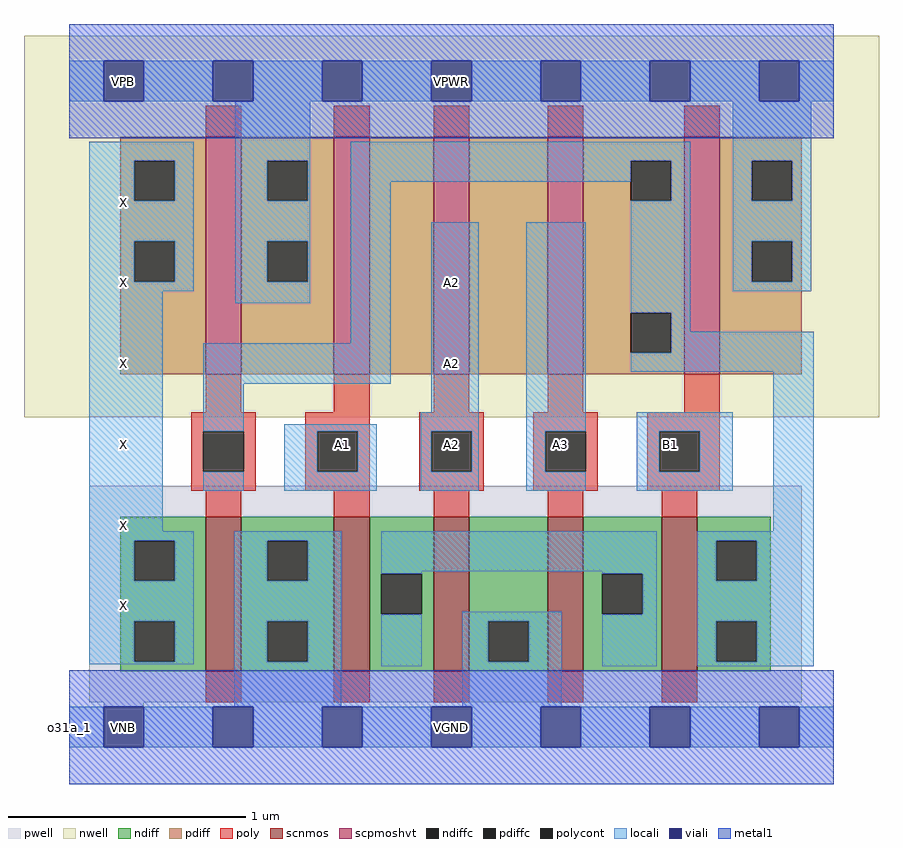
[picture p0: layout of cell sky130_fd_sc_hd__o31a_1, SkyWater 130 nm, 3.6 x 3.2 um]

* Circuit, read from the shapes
.subckt sky130_fd_sc_hd__o31a_1 A1 A2 A3 B1 VGND VNB VPB VPWR X
XM1 VGND n1 X VNB sky130_fd_pr__nfet_01v8 w=0.65 l=0.15
XM2 n2 A1 VGND VNB sky130_fd_pr__nfet_01v8 w=0.65 l=0.15
XM3 VGND A2 n2 VNB sky130_fd_pr__nfet_01v8 w=0.65 l=0.15
XM4 n2 A3 VGND VNB sky130_fd_pr__nfet_01v8 w=0.65 l=0.15
XM5 n1 B1 n2 VNB sky130_fd_pr__nfet_01v8 w=0.65 l=0.15
XM6 VPWR n1 X VPB sky130_fd_pr__pfet_01v8_hvt w=1 l=0.15
XM7 n3 A1 VPWR VPB sky130_fd_pr__pfet_01v8_hvt w=1 l=0.15
XM8 n4 A2 n3 VPB sky130_fd_pr__pfet_01v8_hvt w=1 l=0.15
XM9 n1 A3 n4 VPB sky130_fd_pr__pfet_01v8_hvt w=1 l=0.15
XM10 VPWR B1 n1 VPB sky130_fd_pr__pfet_01v8_hvt w=1 l=0.15
.ends

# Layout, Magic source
magic
tech sky130B
magscale 1 2
<< nwell >>
rect -38 261 682 582
<< pwell >>
rect 17 21 617 203
rect 29 -17 63 21
<< scnmos >>
rect 115 47 145 177
rect 223 47 253 177
rect 307 47 337 177
rect 403 47 433 177
rect 499 47 529 177
<< scpmoshvt >>
rect 115 297 145 497
rect 223 297 253 497
rect 307 297 337 497
rect 403 297 433 497
rect 518 297 548 497
<< ndiff >>
rect 43 157 115 177
rect 43 123 55 157
rect 89 123 115 157
rect 43 89 115 123
rect 43 55 55 89
rect 89 55 115 89
rect 43 47 115 55
rect 145 157 223 177
rect 145 123 167 157
rect 201 123 223 157
rect 145 89 223 123
rect 145 55 167 89
rect 201 55 223 89
rect 145 47 223 55
rect 253 129 307 177
rect 253 95 263 129
rect 297 95 307 129
rect 253 47 307 95
rect 337 89 403 177
rect 337 55 353 89
rect 387 55 403 89
rect 337 47 403 55
rect 433 129 499 177
rect 433 95 449 129
rect 483 95 499 129
rect 433 47 499 95
rect 529 157 591 177
rect 529 123 545 157
rect 579 123 591 157
rect 529 89 591 123
rect 529 55 545 89
rect 579 55 591 89
rect 529 47 591 55
<< pdiff >>
rect 43 477 115 497
rect 43 443 55 477
rect 89 443 115 477
rect 43 409 115 443
rect 43 375 55 409
rect 89 375 115 409
rect 43 297 115 375
rect 145 477 223 497
rect 145 443 167 477
rect 201 443 223 477
rect 145 409 223 443
rect 145 375 167 409
rect 201 375 223 409
rect 145 297 223 375
rect 253 297 307 497
rect 337 297 403 497
rect 433 477 518 497
rect 433 443 473 477
rect 507 443 518 477
rect 433 349 518 443
rect 433 315 473 349
rect 507 315 518 349
rect 433 297 518 315
rect 548 477 617 497
rect 548 443 575 477
rect 609 443 617 477
rect 548 409 617 443
rect 548 375 575 409
rect 609 375 617 409
rect 548 297 617 375
<< ndiffc >>
rect 55 123 89 157
rect 55 55 89 89
rect 167 123 201 157
rect 167 55 201 89
rect 263 95 297 129
rect 353 55 387 89
rect 449 95 483 129
rect 545 123 579 157
rect 545 55 579 89
<< pdiffc >>
rect 55 443 89 477
rect 55 375 89 409
rect 167 443 201 477
rect 167 375 201 409
rect 473 443 507 477
rect 473 315 507 349
rect 575 443 609 477
rect 575 375 609 409
<< poly >>
rect 115 497 145 523
rect 223 497 253 523
rect 307 497 337 523
rect 403 497 433 523
rect 518 497 548 523
rect 115 265 145 297
rect 223 265 253 297
rect 307 265 337 297
rect 403 265 433 297
rect 518 265 548 297
rect 103 249 157 265
rect 103 215 113 249
rect 147 215 157 249
rect 103 199 157 215
rect 199 249 253 265
rect 199 215 209 249
rect 243 215 253 249
rect 199 199 253 215
rect 295 249 349 265
rect 295 215 305 249
rect 339 215 349 249
rect 295 199 349 215
rect 391 249 445 265
rect 391 215 401 249
rect 435 215 445 249
rect 391 199 445 215
rect 487 249 548 265
rect 487 215 497 249
rect 531 215 548 249
rect 487 199 548 215
rect 115 177 145 199
rect 223 177 253 199
rect 307 177 337 199
rect 403 177 433 199
rect 499 177 529 199
rect 115 21 145 47
rect 223 21 253 47
rect 307 21 337 47
rect 403 21 433 47
rect 499 21 529 47
<< polycont >>
rect 113 215 147 249
rect 209 215 243 249
rect 305 215 339 249
rect 401 215 435 249
rect 497 215 531 249
<< locali >>
rect 0 527 29 561
rect 63 527 121 561
rect 155 527 213 561
rect 247 527 305 561
rect 339 527 397 561
rect 431 527 489 561
rect 523 527 581 561
rect 615 527 644 561
rect 17 477 105 493
rect 17 443 55 477
rect 89 443 105 477
rect 17 409 105 443
rect 17 375 55 409
rect 89 375 105 409
rect 17 367 105 375
rect 140 477 203 527
rect 140 443 167 477
rect 201 443 203 477
rect 140 409 203 443
rect 140 375 167 409
rect 201 375 203 409
rect 17 165 79 367
rect 140 357 203 375
rect 237 477 523 493
rect 237 459 473 477
rect 237 323 271 459
rect 507 443 523 477
rect 113 289 271 323
rect 113 249 147 289
rect 305 265 345 425
rect 113 199 147 215
rect 181 249 259 255
rect 181 215 209 249
rect 243 215 259 249
rect 181 199 259 215
rect 296 249 345 265
rect 296 215 305 249
rect 339 215 345 249
rect 296 199 345 215
rect 385 249 435 425
rect 473 349 523 443
rect 559 477 625 527
rect 559 443 575 477
rect 609 443 625 477
rect 559 409 625 443
rect 559 375 575 409
rect 609 375 625 409
rect 559 367 625 375
rect 507 333 523 349
rect 507 315 627 333
rect 473 299 627 315
rect 385 215 401 249
rect 385 199 435 215
rect 478 249 559 265
rect 478 215 497 249
rect 531 215 559 249
rect 478 199 559 215
rect 593 165 627 299
rect 17 157 105 165
rect 17 123 55 157
rect 89 123 105 157
rect 17 89 105 123
rect 17 55 55 89
rect 89 55 105 89
rect 17 53 105 55
rect 139 157 229 165
rect 139 123 167 157
rect 201 123 229 157
rect 139 89 229 123
rect 139 55 167 89
rect 201 55 229 89
rect 139 17 229 55
rect 263 131 495 165
rect 263 129 297 131
rect 449 129 495 131
rect 263 51 297 95
rect 331 89 415 97
rect 331 55 353 89
rect 387 55 415 89
rect 331 17 415 55
rect 483 95 495 129
rect 449 51 495 95
rect 529 157 627 165
rect 529 123 545 157
rect 579 123 627 157
rect 529 89 627 123
rect 529 55 545 89
rect 579 55 627 89
rect 529 51 627 55
rect 0 -17 29 17
rect 63 -17 121 17
rect 155 -17 213 17
rect 247 -17 305 17
rect 339 -17 397 17
rect 431 -17 489 17
rect 523 -17 581 17
rect 615 -17 644 17
<< viali >>
rect 29 527 63 561
rect 121 527 155 561
rect 213 527 247 561
rect 305 527 339 561
rect 397 527 431 561
rect 489 527 523 561
rect 581 527 615 561
rect 29 -17 63 17
rect 121 -17 155 17
rect 213 -17 247 17
rect 305 -17 339 17
rect 397 -17 431 17
rect 489 -17 523 17
rect 581 -17 615 17
<< metal1 >>
rect 0 561 644 592
rect 0 527 29 561
rect 63 527 121 561
rect 155 527 213 561
rect 247 527 305 561
rect 339 527 397 561
rect 431 527 489 561
rect 523 527 581 561
rect 615 527 644 561
rect 0 496 644 527
rect 0 17 644 48
rect 0 -17 29 17
rect 63 -17 121 17
rect 155 -17 213 17
rect 247 -17 305 17
rect 339 -17 397 17
rect 431 -17 489 17
rect 523 -17 581 17
rect 615 -17 644 17
rect 0 -48 644 -17
<< labels >>
flabel locali s 29 221 63 255 0 FreeSans 200 0 0 0 X
port 9 nsew signal output
flabel locali s 305 221 339 255 0 FreeSans 200 0 0 0 A2
port 2 nsew signal input
flabel locali s 489 221 523 255 0 FreeSans 200 0 0 0 B1
port 4 nsew signal input
flabel locali s 305 289 339 323 0 FreeSans 200 0 0 0 A2
port 2 nsew signal input
flabel locali s 305 357 339 391 0 FreeSans 200 0 0 0 A2
port 2 nsew signal input
flabel locali s 29 153 63 187 0 FreeSans 200 0 0 0 X
port 9 nsew signal output
flabel locali s 29 85 63 119 0 FreeSans 200 0 0 0 X
port 9 nsew signal output
flabel locali s 29 289 63 323 0 FreeSans 200 0 0 0 X
port 9 nsew signal output
flabel locali s 29 357 63 391 0 FreeSans 200 0 0 0 X
port 9 nsew signal output
flabel locali s 29 425 63 459 0 FreeSans 200 0 0 0 X
port 9 nsew signal output
flabel locali s 213 221 247 255 0 FreeSans 200 0 0 0 A1
port 1 nsew signal input
flabel locali s 397 221 431 255 0 FreeSans 200 0 0 0 A3
port 3 nsew signal input
flabel nwell s 29 527 63 561 0 FreeSans 200 0 0 0 VPB
port 7 nsew power bidirectional
flabel pwell s 29 -17 63 17 0 FreeSans 200 0 0 0 VNB
port 6 nsew ground bidirectional
flabel metal1 s 29 -17 63 17 0 FreeSans 200 0 0 0 VGND
port 5 nsew ground bidirectional abutment
flabel metal1 s 29 527 63 561 0 FreeSans 200 0 0 0 VPWR
port 8 nsew power bidirectional abutment
rlabel comment s 0 0 0 0 4 o31a_1
rlabel metal1 s 0 -48 644 48 1 VGND
port 5 nsew ground bidirectional abutment
rlabel metal1 s 0 496 644 592 1 VPWR
port 8 nsew power bidirectional abutment
<< properties >>
string FIXED_BBOX 0 0 644 544
string GDS_END 1400536
string GDS_FILE $PDKPATH/libs.ref/sky130_fd_sc_hd/gds/sky130_fd_sc_hd.gds
string GDS_START 1393972
string LEFclass CORE
string LEFsite unithd
string LEFsymmetry X Y R90
string path 0.000 0.000 3.220 0.000 
<< end >>
